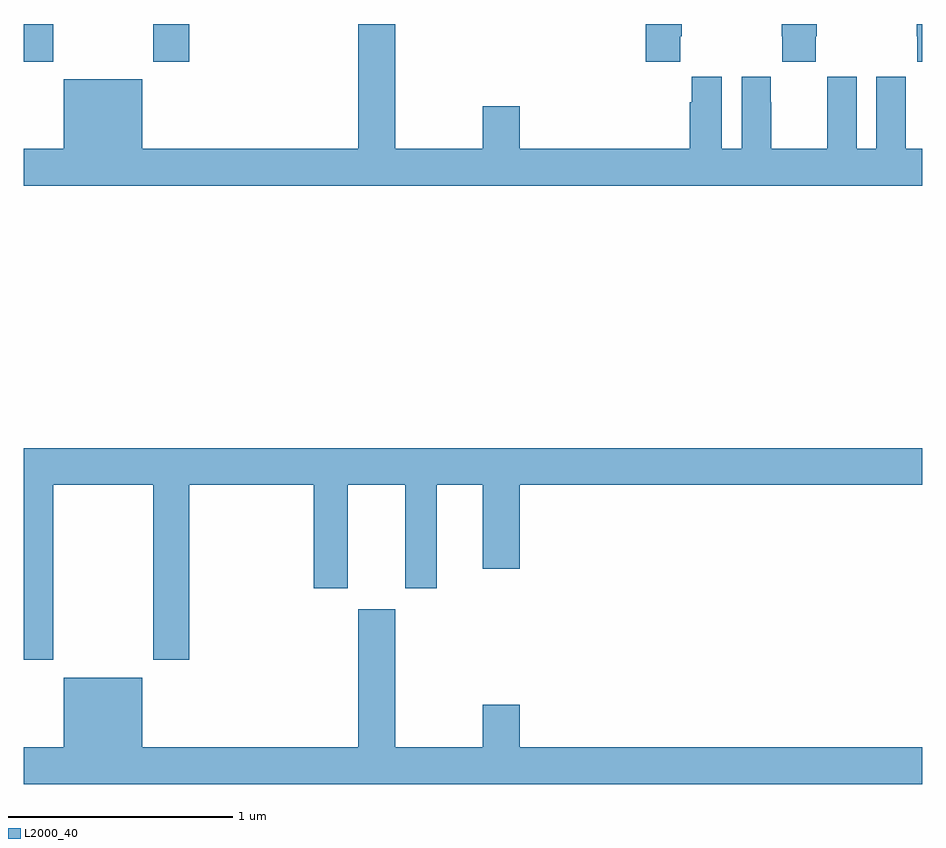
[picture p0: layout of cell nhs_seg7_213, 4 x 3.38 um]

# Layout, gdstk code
import gdstk
lib = gdstk.Library(unit=1e-6, precision=1e-09)
def R(c, l, rs):  # rectangles x0, y0, x1, y1
    for r in rs: c.add(gdstk.rectangle(r[:2], r[2:], *l))
def P(c, l, *ps):  # polygons
    for p in ps: c.add(gdstk.Polygon(p, *l))
L2000_40 = (2000, 40)

nhs_seg7_213 = lib.new_cell('nhs_seg7_213')
R(nhs_seg7_213, L2000_40, [(127,1003.833,127.131,1004), (127.576,1003.833,127.736,1004)])
P(nhs_seg7_213, L2000_40, [(129.923,1003.945),(129.93,1003.945),(129.93,1004),(129.77,1004),(129.77,1003.833),(129.923,1003.833)],
  [(130.527,1003.945),(130.53,1003.945),(130.53,1004),(130.375,1004),(130.375,1003.945),(130.377,1003.945),(130.377,1003.833),(130.527,1003.833)],
  [(131,1004),(130.975,1004),(130.975,1003.945),(130.977,1003.945),(130.977,1003.833),(131,1003.833)],
  [(131,1003.444),(130.927,1003.444),(130.927,1003.652),(130.926,1003.652),(130.926,1003.765),(130.796,1003.765),(130.796,1003.444),(130.708,1003.444),(130.708,1003.765),(130.578,1003.765),(130.578,1003.652),(130.577,1003.652),(130.577,1003.444),(130.327,1003.444),(130.327,1003.652),(130.326,1003.652),(130.326,1003.765),(130.196,1003.765),(130.196,1003.444),(130.108,1003.444),(130.108,1003.765),(129.974,1003.765),(129.974,1003.652),(129.965,1003.652),(129.965,1003.444),(129.208,1003.444),(129.208,1003.633),(129.044,1003.633),(129.044,1003.444),(128.653,1003.444),(128.653,1004),(128.489,1004),(128.489,1003.444),(127.528,1003.444),(127.528,1003.753),(127.178,1003.753),(127.178,1003.444),(127,1003.444),(127,1003.28),(131,1003.28)],
  [(127.131,1001.948),(127.576,1001.948),(127.576,1001.169),(127.736,1001.169),(127.736,1001.948),(128.291,1001.948),(128.291,1001.487),(128.443,1001.487),(128.443,1001.948),(128.699,1001.948),(128.699,1001.487),(128.839,1001.487),(128.839,1001.948),(129.044,1001.948),(129.044,1001.574),(129.208,1001.574),(129.208,1001.948),(131,1001.948),(131,1002.112),(127,1002.112),(127,1001.169),(127.131,1001.169)],
  [(131,1000.78),(129.208,1000.78),(129.208,1000.969),(129.044,1000.969),(129.044,1000.78),(128.653,1000.78),(128.653,1001.395),(128.489,1001.395),(128.489,1000.78),(127.528,1000.78),(127.528,1001.089),(127.178,1001.089),(127.178,1000.78),(127,1000.78),(127,1000.616),(131,1000.616)])

lib.write_gds('nhs_seg7_213.gds')
